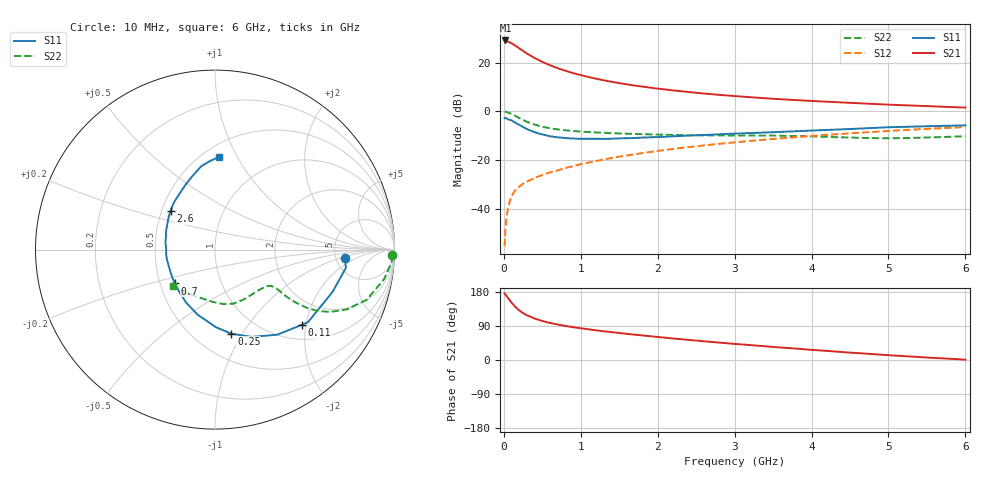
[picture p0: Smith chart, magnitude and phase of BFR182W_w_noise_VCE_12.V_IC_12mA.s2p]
! Infineon Technologies  Discrete & RF Semiconductors
! BFR182W
! VCE =  12. V,  IC =  12 mA
! Common Emitter S-Parameters:  Jan 2017
# GHz  S  MA  R  50
!  f  S11  S21  S12  S22
! GHz  MAG  ANG  MAG  ANG  MAG  ANG  MAG  ANG
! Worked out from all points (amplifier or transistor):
!   77 points, 10 MHz to 6 GHz, reference 50 ohm
!   highest |S21| = 29.1 dB at 20 MHz (marker M1)
!   |S21| within 3 dB of that: start of sweep to 189.2 MHz
!   unconditionally stable (mu >= 1): 1.05 GHz to 2.634 GHz
!   at 130 MHz: K = 0.33, MSG = 30.3 dB, |S12| = -33.3 dB
!   at 2.2 GHz: K = 1.02, MAG = 11.1 dB, |S12| = -15.4 dB
!   at 6 GHz: K = 0.86, MSG = 4.0 dB, |S12| = -6.4 dB
!   lowest NFmin = 1.14 dB at 450 MHz
!   S11 on the Smith chart (normalised r, x): 10 MHz: 6.00, -1.25; 110 MHz: 1.34, -1.89; 250 MHz: 0.74, -0.90; 700 MHz: 0.60, -0.25; 2.6 GHz: 0.56, +0.27; 6 GHz: 0.60, +0.84
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0.01  0.7248 -3.9  28.57 175.7  0.0017 77.0  0.9857 -1.9
0.02  0.7365 -7.9  28.59 173.1  0.0037 86.0  0.9866 -4.2
0.05  0.6959 -19.8  27.41 164.6  0.0094 78.6  0.9564 -9.9
0.1  0.6571 -38.1  25.13 151.2  0.0178 72.3  0.8903 -18.3
0.11  0.6396 -40.9  24.5 149.2  0.019 71.0  0.8728 -19.4
0.15  0.5876 -53.8  22.36 139.9  0.0241 67.0  0.8065 -24.4
0.2  0.5273 -67.3  19.7 130.9  0.0282 64.7  0.7302 -28.4
0.25  0.4772 -79.0  17.41 123.5  0.0327 62.4  0.6648 -30.9
0.3  0.433 -89.2  15.41 117.9  0.036 60.9  0.6102 -32.3
0.4  0.3747 -105.1  12.48 109.2  0.0427 61.3  0.5344 -33.3
0.5  0.3361 -118.6  10.36 102.9  0.0491 61.9  0.4837 -33.4
0.6  0.3081 -130.2  8.858 97.8  0.0558 62.8  0.4493 -33.0
0.7  0.2926 -139.8  7.704 93.6  0.0611 64.3  0.4259 -32.6
0.9  0.276 -155.7  6.104 86.6  0.0752 65.7  0.3951 -32.3
1.1  0.2735 -168.6  5.076 81.0  0.0887 66.9  0.3763 -32.8
1.5  0.2785 172.2  3.802 71.3  0.1171 66.9  0.3516 -35.8
2.1  0.3014 151.7  2.81 58.9  0.1614 65.4  0.3303 -44.5
2.6  0.3269 139.2  2.324 49.4  0.1992 62.9  0.3219 -54.1
3.1  0.3532 128.6  2.008 41.0  0.2385 59.7  0.3186 -63.8
4.1  0.4087 111.4  1.606 25.4  0.3204 52.0  0.3027 -83.5
5.1  0.4756 98.0  1.354 11.5  0.4032 43.0  0.2809 -112.3
6  0.516 87.8  1.194 0.9  0.4762 34.2  0.3094 -139.1
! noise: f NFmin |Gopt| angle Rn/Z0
0.45  1.14  0.05  71  0.15
0.9  1.22  0.06  102  0.15
1.9  1.71  0.21  -156  0.14
2.4  1.97  0.2  -143  0.21
